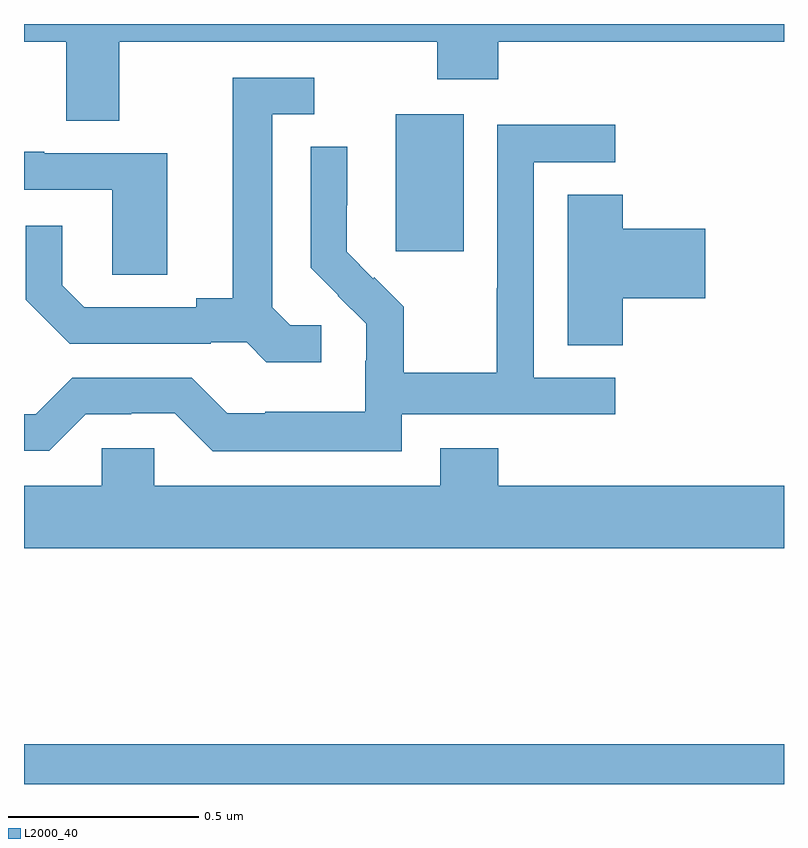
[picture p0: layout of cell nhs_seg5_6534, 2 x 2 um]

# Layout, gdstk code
import gdstk
lib = gdstk.Library(unit=1e-6, precision=1e-09)
def R(c, l, rs):  # rectangles x0, y0, x1, y1
    for r in rs: c.add(gdstk.rectangle(r[:2], r[2:], *l))
def P(c, l, *ps):  # polygons
    for p in ps: c.add(gdstk.Polygon(p, *l))
L2000_40 = (2000, 40)

nhs_seg5_6534 = lib.new_cell('nhs_seg5_6534')
R(nhs_seg5_6534, L2000_40, [(197,862.799,199,862.904), (197.978,864.201,198.157,864.562)])
P(nhs_seg5_6534, L2000_40, [(197.251,864.752),(198.088,864.752),(198.088,864.653),(198.248,864.653),(198.248,864.752),(199,864.752),(199,864.799),(197,864.799),(197,864.752),(197.111,864.752),(197.111,864.544),(197.251,864.544)],
  [(197.782,864.006),(197.7,864.006),(197.653,864.053),(197.653,864.561),(197.764,864.561),(197.764,864.657),(197.549,864.657),(197.549,864.077),(197.453,864.077),(197.453,864.054),(197.158,864.054),(197.101,864.111),(197.101,864.268),(197.004,864.268),(197.004,864.074),(197.12,863.958),(197.492,863.958),(197.492,863.961),(197.586,863.961),(197.638,863.909),(197.782,863.909)],
  [(197.994,863.772),(198.556,863.772),(198.556,863.868),(198.342,863.868),(198.342,864.435),(198.556,864.435),(198.556,864.534),(198.246,864.534),(198.246,864.104),(198.244,864.104),(198.244,863.881),(197.999,863.881),(197.999,864.055),(197.922,864.132),(197.919,864.129),(197.849,864.2),(197.849,864.322),(197.85,864.322),(197.85,864.476),(197.754,864.476),(197.754,864.158),(197.827,864.085),(197.826,864.084),(197.9,864.01),(197.9,863.913),(197.898,863.913),(197.898,863.779),(197.635,863.779),(197.635,863.775),(197.535,863.775),(197.442,863.868),(197.127,863.868),(197.031,863.772),(197,863.772),(197,863.676),(197.067,863.676),(197.163,863.772),(197.282,863.772),(197.282,863.775),(197.397,863.775),(197.497,863.675),(197.994,863.675)],
  [(197.377,864.459),(197.053,864.459),(197.053,864.463),(197,864.463),(197,864.363),(197.232,864.363),(197.232,864.139),(197.377,864.139)],
  [(198.575,864.077),(198.793,864.077),(198.793,864.26),(198.575,864.26),(198.575,864.35),(198.431,864.35),(198.431,863.953),(198.575,863.953)],
  [(199,863.584),(198.248,863.584),(198.248,863.683),(198.095,863.683),(198.095,863.584),(197.343,863.584),(197.343,863.682),(197.205,863.682),(197.205,863.584),(197,863.584),(197,863.42),(199,863.42)])

lib.write_gds('nhs_seg5_6534.gds')
